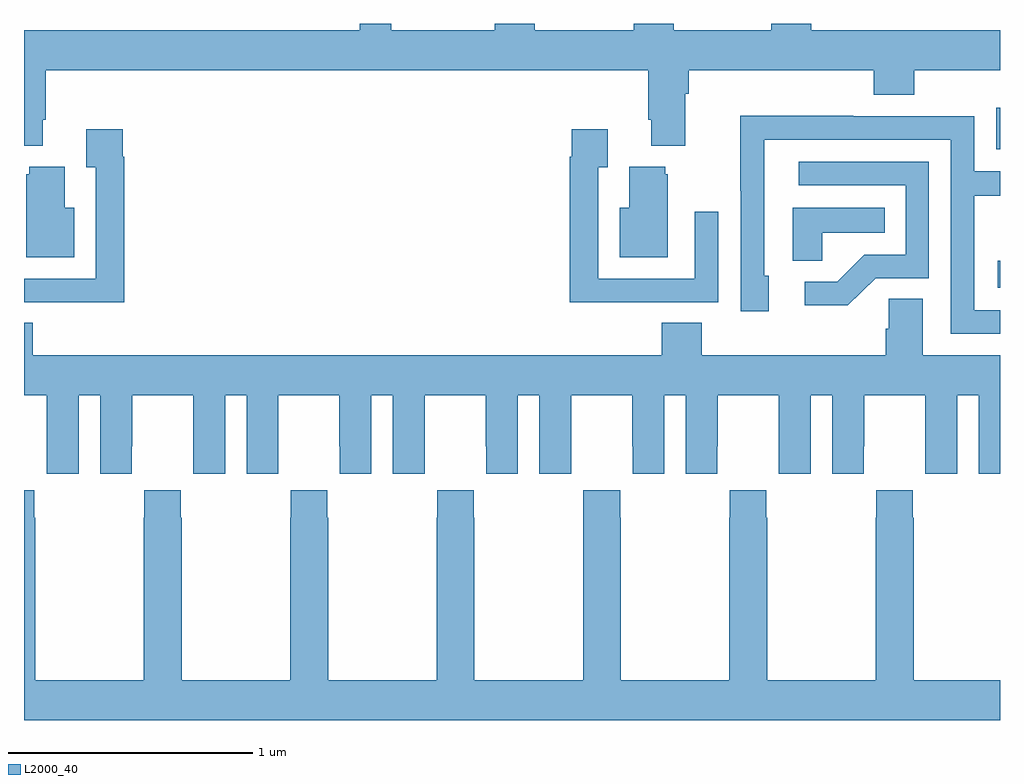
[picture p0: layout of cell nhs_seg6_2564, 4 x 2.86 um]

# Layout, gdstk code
import gdstk
lib = gdstk.Library(unit=1e-6, precision=1e-09)
def R(c, l, rs):  # rectangles x0, y0, x1, y1
    for r in rs: c.add(gdstk.rectangle(r[:2], r[2:], *l))
def P(c, l, *ps):  # polygons
    for p in ps: c.add(gdstk.Polygon(p, *l))
L2000_40 = (2000, 40)

nhs_seg6_2564 = lib.new_cell('nhs_seg6_2564')
R(nhs_seg6_2564, L2000_40, [(266.991,974.417,267,974.527), (266.985,974.985,267,975.154)])
P(nhs_seg6_2564, L2000_40, [(263.077,975.106),(263.09,975.106),(263.09,975.308),(265.559,975.308),(265.559,975.106),(265.571,975.106),(265.571,974.999),(265.711,974.999),(265.711,975.212),(265.724,975.212),(265.724,975.308),(266.483,975.308),(266.483,975.209),(266.648,975.209),(266.648,975.308),(267,975.308),(267,975.472),(266.227,975.472),(266.227,975.5),(266.063,975.5),(266.063,975.472),(265.663,975.472),(265.663,975.5),(265.499,975.5),(265.499,975.472),(265.093,975.472),(265.093,975.5),(264.929,975.5),(264.929,975.472),(264.505,975.472),(264.505,975.5),(264.377,975.5),(264.377,975.472),(263,975.472),(263,974.999),(263.077,974.999)],
  [(267,974.325),(266.895,974.325),(266.895,974.794),(267,974.794),(267,974.895),(266.895,974.895),(266.895,975.12),(266.399,975.12),(266.399,975.122),(265.936,975.122),(265.936,974.815),(265.938,974.815),(265.938,974.322),(266.053,974.322),(266.053,974.466),(266.034,974.466),(266.034,975.024),(266.799,975.024),(266.799,974.229),(267,974.229)],
  [(263.411,974.954),(263.404,974.954),(263.404,975.067),(263.255,975.067),(263.255,974.911),(263.295,974.911),(263.295,974.454),(263,974.454),(263,974.358),(263.119,974.358),(263.119,974.357),(263.411,974.357)],
  [(265.529,974.358),(265.845,974.358),(265.845,974.728),(265.749,974.728),(265.749,974.454),(265.353,974.454),(265.353,974.911),(265.393,974.911),(265.393,975.067),(265.245,975.067),(265.245,974.954),(265.237,974.954),(265.237,974.357),(265.529,974.357)],
  [(266.49,974.457),(266.709,974.457),(266.709,974.934),(266.175,974.934),(266.175,974.838),(266.613,974.838),(266.613,974.553),(266.444,974.553),(266.333,974.442),(266.199,974.442),(266.199,974.345),(266.377,974.345)],
  [(265.639,974.883),(265.628,974.883),(265.628,974.914),(265.481,974.914),(265.481,974.746),(265.442,974.746),(265.442,974.543),(265.639,974.543)],
  [(263.206,974.746),(263.167,974.746),(263.167,974.914),(263.021,974.914),(263.021,974.883),(263.009,974.883),(263.009,974.543),(263.206,974.543)],
  [(266.271,974.642),(266.528,974.642),(266.528,974.746),(266.15,974.746),(266.15,974.527),(266.271,974.527)],
  [(263.224,973.976),(263.312,973.976),(263.312,973.656),(263.442,973.656),(263.442,973.768),(263.443,973.768),(263.443,973.976),(263.693,973.976),(263.693,973.768),(263.694,973.768),(263.694,973.656),(263.824,973.656),(263.824,973.976),(263.912,973.976),(263.912,973.656),(264.042,973.656),(264.042,973.768),(264.043,973.768),(264.043,973.976),(264.293,973.976),(264.293,973.768),(264.294,973.768),(264.294,973.656),(264.424,973.656),(264.424,973.976),(264.512,973.976),(264.512,973.656),(264.642,973.656),(264.642,973.768),(264.643,973.768),(264.643,973.976),(264.893,973.976),(264.893,973.768),(264.894,973.768),(264.894,973.656),(265.024,973.656),(265.024,973.976),(265.112,973.976),(265.112,973.656),(265.242,973.656),(265.242,973.768),(265.243,973.768),(265.243,973.976),(265.493,973.976),(265.493,973.768),(265.494,973.768),(265.494,973.656),(265.624,973.656),(265.624,973.976),(265.712,973.976),(265.712,973.656),(265.842,973.656),(265.842,973.768),(265.843,973.768),(265.843,973.976),(266.093,973.976),(266.093,973.768),(266.094,973.768),(266.094,973.656),(266.224,973.656),(266.224,973.976),(266.312,973.976),(266.312,973.656),(266.442,973.656),(266.442,973.768),(266.443,973.768),(266.443,973.976),(266.693,973.976),(266.693,973.768),(266.694,973.768),(266.694,973.656),(266.824,973.656),(266.824,973.976),(266.912,973.976),(266.912,973.656),(267,973.656),(267,974.14),(266.683,974.14),(266.683,974.372),(266.544,974.372),(266.544,974.249),(266.531,974.249),(266.531,974.14),(265.778,974.14),(265.778,974.273),(265.613,974.273),(265.613,974.14),(263.036,974.14),(263.036,974.273),(263,974.273),(263,973.976),(263.093,973.976),(263.093,973.768),(263.094,973.768),(263.094,973.656),(263.224,973.656)],
  [(267,972.808),(266.646,972.808),(266.646,973.475),(266.643,973.475),(266.643,973.588),(266.493,973.588),(266.493,973.475),(266.491,973.475),(266.491,972.808),(266.046,972.808),(266.046,973.475),(266.043,973.475),(266.043,973.588),(265.893,973.588),(265.893,973.475),(265.891,973.475),(265.891,972.808),(265.446,972.808),(265.446,973.475),(265.443,973.475),(265.443,973.588),(265.293,973.588),(265.293,973.475),(265.291,973.475),(265.291,972.808),(264.846,972.808),(264.846,973.475),(264.843,973.475),(264.843,973.588),(264.693,973.588),(264.693,973.475),(264.691,973.475),(264.691,972.808),(264.246,972.808),(264.246,973.475),(264.243,973.475),(264.243,973.588),(264.093,973.588),(264.093,973.475),(264.091,973.475),(264.091,972.808),(263.646,972.808),(263.646,973.475),(263.643,973.475),(263.643,973.588),(263.493,973.588),(263.493,973.475),(263.491,973.475),(263.491,972.808),(263.046,972.808),(263.046,973.475),(263.043,973.475),(263.043,973.588),(263,973.588),(263,972.644),(267,972.644)])

lib.write_gds('nhs_seg6_2564.gds')
